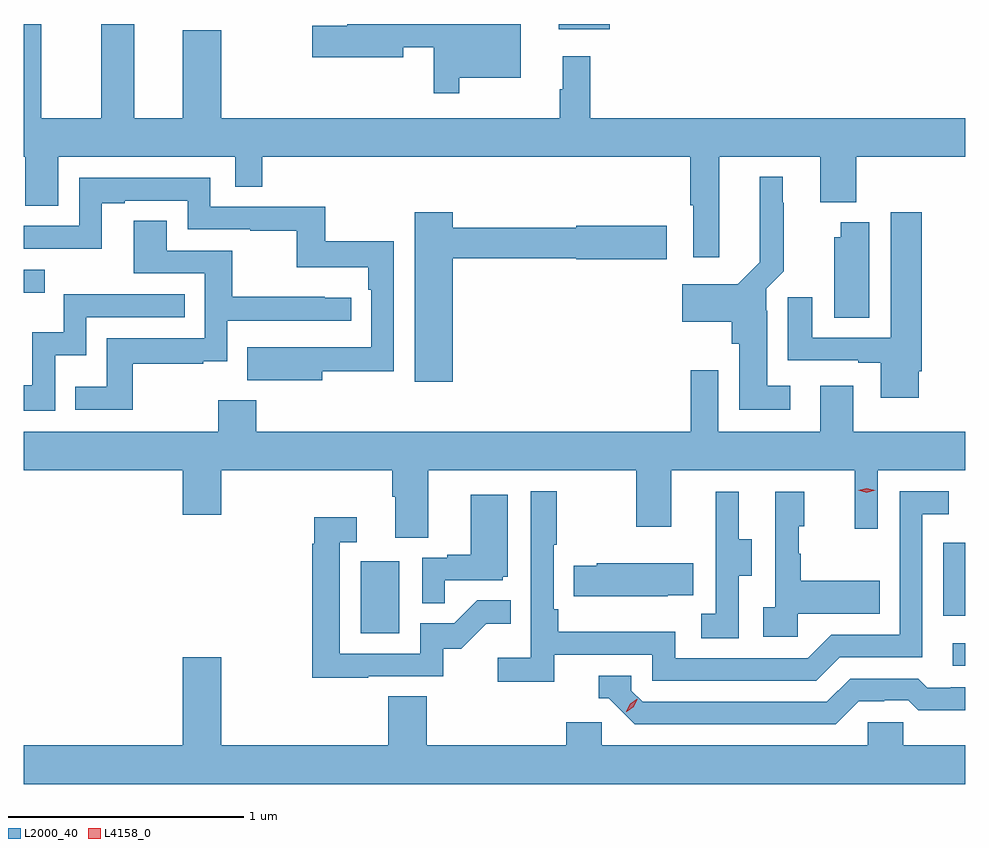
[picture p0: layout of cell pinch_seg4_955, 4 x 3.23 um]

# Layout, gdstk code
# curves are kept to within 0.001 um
import gdstk
lib = gdstk.Library(unit=1e-6, precision=1e-09)
def R(c, l, rs):  # rectangles x0, y0, x1, y1
    for r in rs: c.add(gdstk.rectangle(r[:2], r[2:], *l))
def P(c, l, *ps):  # polygons
    for p in ps: c.add(gdstk.Polygon(p, *l))
L2000_40 = (2000, 40)
L4158_0 = (4158, 0)

pinch_seg4_955 = lib.new_cell('pinch_seg4_955')
R(pinch_seg4_955, L2000_40, [(863.583,786.666,863.637,786.762), (861.068,786.804,861.232,787.111), (863.544,786.879,863.637,787.188), (859.637,788.252,859.726,788.349), (861.911,789.371,862.126,789.393)])
P(pinch_seg4_955, L2000_40, [(862.591,788.828),(863.021,788.828),(863.021,788.636),(863.174,788.636),(863.174,788.828),(863.637,788.828),(863.637,788.992),(862.043,788.992),(862.043,789.256),(861.926,789.256),(861.926,789.116),(861.915,789.116),(861.915,788.992),(860.476,788.992),(860.476,789.367),(860.312,789.367),(860.312,788.992),(860.107,788.992),(860.107,789.393),(859.967,789.393),(859.967,788.992),(859.711,788.992),(859.711,789.393),(859.637,789.393),(859.637,788.828),(859.644,788.828),(859.644,788.62),(859.783,788.62),(859.783,788.828),(860.535,788.828),(860.535,788.701),(860.651,788.701),(860.651,788.828),(862.469,788.828),(862.469,788.623),(862.481,788.623),(862.481,788.403),(862.591,788.403)],
  [(861.487,789.164),(861.748,789.164),(861.748,789.393),(861.011,789.393),(861.011,789.386),(860.862,789.386),(860.862,789.251),(861.25,789.251),(861.25,789.294),(861.378,789.294),(861.378,789.099),(861.487,789.099)],
  [(862.894,787.855),(862.795,787.855),(862.795,788.174),(862.791,788.174),(862.791,788.268),(862.865,788.342),(862.865,788.633),(862.861,788.633),(862.861,788.743),(862.763,788.743),(862.764,788.38),(862.671,788.287),(862.434,788.287),(862.434,788.129),(862.646,788.129),(862.646,788.034),(862.676,788.034),(862.676,787.754),(862.894,787.754)],
  [(860.905,787.918),(861.21,787.918),(861.21,788.47),(860.917,788.47),(860.917,788.616),(860.43,788.616),(860.43,788.739),(859.872,788.739),(859.872,788.535),(859.637,788.535),(859.637,788.439),(859.764,788.439),(859.764,788.438),(859.969,788.438),(859.969,788.631),(860.065,788.631),(860.065,788.643),(860.334,788.643),(860.334,788.52),(860.599,788.52),(860.599,788.515),(860.796,788.515),(860.796,788.36),(861.101,788.36),(861.101,788.264),(861.114,788.264),(861.114,788.019),(860.801,788.019),(860.801,788.02),(860.587,788.02),(860.587,787.88),(860.905,787.88)],
  [(861.46,788.398),(861.984,788.398),(861.984,788.393),(862.369,788.393),(862.369,788.535),(861.984,788.535),(861.984,788.527),(861.46,788.527),(861.46,788.593),(861.299,788.593),(861.299,787.872),(861.46,787.872)],
  [(863.44,787.918),(863.453,787.918),(863.453,788.593),(863.321,788.593),(863.321,788.061),(862.987,788.061),(862.987,788.233),(862.883,788.233),(862.883,787.965),(863.183,787.965),(863.183,787.953),(863.279,787.953),(863.279,787.806),(863.44,787.806)],
  [(860.101,787.95),(860.399,787.95),(860.399,787.961),(860.502,787.961),(860.502,788.133),(861.028,788.133),(861.028,788.229),(860.915,788.229),(860.915,788.234),(860.522,788.234),(860.522,788.43),(860.245,788.43),(860.245,788.558),(860.105,788.558),(860.105,788.334),(860.406,788.334),(860.406,788.058),(859.99,788.058),(859.99,787.852),(859.855,787.852),(859.855,787.755),(860.101,787.755)],
  [(863.23,788.551),(863.108,788.551),(863.108,788.487),(863.081,788.487),(863.081,788.146),(863.23,788.146)],
  [(859.77,787.985),(859.902,787.985),(859.902,788.148),(860.321,788.148),(860.321,788.244),(859.806,788.244),(859.806,788.083),(859.673,788.083),(859.673,787.858),(859.637,787.858),(859.637,787.749),(859.77,787.749)],
  [(861.355,787.496),(862.24,787.496),(862.24,787.257),(862.387,787.257),(862.387,787.496),(863.168,787.496),(863.168,787.248),(863.265,787.248),(863.265,787.496),(863.637,787.496),(863.637,787.66),(863.161,787.66),(863.161,787.855),(863.021,787.855),(863.021,787.66),(862.587,787.66),(862.587,787.921),(862.471,787.921),(862.471,787.66),(860.624,787.66),(860.624,787.795),(860.464,787.795),(860.464,787.66),(859.637,787.66),(859.637,787.496),(860.312,787.496),(860.312,787.308),(860.476,787.308),(860.476,787.496),(861.203,787.496),(861.203,787.384),(861.215,787.384),(861.215,787.21),(861.355,787.21)],
  [(861.89,786.714),(862.308,786.714),(862.308,786.603),(863.005,786.603),(863.104,786.702),(863.454,786.702),(863.454,787.311),(863.567,787.311),(863.567,787.407),(863.358,787.407),(863.358,786.798),(863.067,786.798),(862.968,786.699),(862.404,786.699),(862.404,786.811),(861.908,786.811),(861.908,786.907),(861.888,786.907),(861.888,787.18),(861.901,787.18),(861.901,787.408),(861.792,787.408),(861.792,786.7),(861.651,786.7),(861.651,786.598),(861.89,786.598)],
  [(862.674,787.048),(862.729,787.048),(862.729,787.203),(862.675,787.203),(862.675,787.405),(862.577,787.405),(862.577,787.191),(862.578,787.191),(862.578,786.887),(862.515,786.887),(862.515,786.784),(862.674,786.784)],
  [(862.926,786.887),(863.273,786.887),(863.273,787.027),(862.939,787.027),(862.939,787.142),(862.929,787.142),(862.929,787.26),(862.954,787.26),(862.954,787.405),(862.83,787.405),(862.83,786.914),(862.779,786.914),(862.779,786.789),(862.926,786.789)],
  [(861.425,787.029),(861.672,787.029),(861.672,787.044),(861.694,787.044),(861.694,787.393),(861.536,787.393),(861.536,787.138),(861.437,787.138),(861.437,787.125),(861.33,787.125),(861.33,786.931),(861.425,786.931)],
  [(861.101,786.621),(861.42,786.621),(861.42,786.738),(861.496,786.738),(861.603,786.845),(861.707,786.845),(861.707,786.944),(861.563,786.944),(861.465,786.846),(861.321,786.846),(861.321,786.717),(860.979,786.717),(860.979,787.191),(861.052,787.191),(861.052,787.297),(860.871,787.297),(860.871,787.184),(860.863,787.184),(860.863,786.616),(861.101,786.616)],
  [(862.373,786.965),(862.481,786.965),(862.481,787.102),(862.071,787.102),(862.071,787.092),(861.973,787.092),(861.973,786.962),(862.373,786.962)],
  [(863.637,786.328),(863.373,786.328),(863.373,786.426),(863.223,786.426),(863.223,786.328),(862.092,786.328),(862.092,786.426),(861.941,786.426),(861.941,786.328),(861.35,786.328),(861.35,786.536),(861.185,786.536),(861.185,786.328),(860.476,786.328),(860.476,786.703),(860.312,786.703),(860.312,786.328),(859.637,786.328),(859.637,786.164),(863.637,786.164)],
  [(863.185,786.516),(863.292,786.516),(863.292,786.519),(863.395,786.519),(863.437,786.477),(863.637,786.477),(863.637,786.576),(863.575,786.576),(863.575,786.573),(863.476,786.573),(863.437,786.612),(863.148,786.612),(863.049,786.513),(862.266,786.513),(862.218,786.561),(862.218,786.624),(862.079,786.624),(862.079,786.528),(862.122,786.528),(862.233,786.417),(863.086,786.417)])
P(pinch_seg4_955, L4158_0, [(862.197,786.472),(862.197,786.473),(862.213,786.506),(862.243,786.526),(862.244,786.526),(862.244,786.525),(862.228,786.492),(862.198,786.472)],
  [(863.218,787.401),(863.182,787.411),(863.182,787.411),(863.182,787.411),(863.218,787.421),(863.254,787.411),(863.254,787.411),(863.254,787.411)])

lib.write_gds('pinch_seg4_955.gds')
